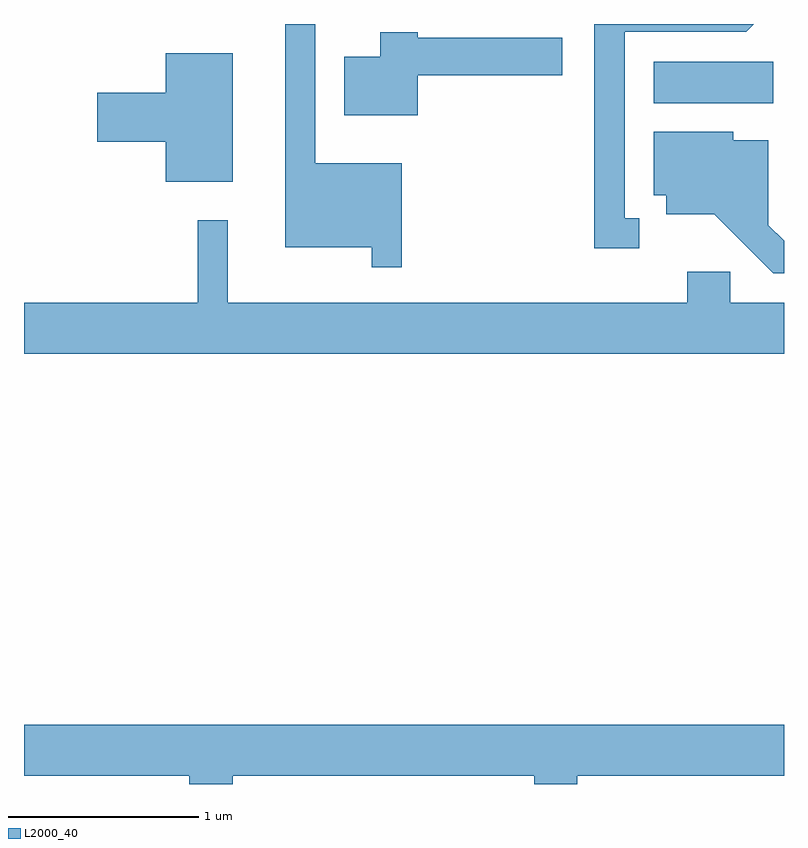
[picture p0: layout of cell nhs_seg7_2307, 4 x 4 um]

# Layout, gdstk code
import gdstk
lib = gdstk.Library(unit=1e-6, precision=1e-09)
def R(c, l, rs):  # rectangles x0, y0, x1, y1
    for r in rs: c.add(gdstk.rectangle(r[:2], r[2:], *l))
def P(c, l, *ps):  # polygons
    for p in ps: c.add(gdstk.Polygon(p, *l))
L2000_40 = (2000, 40)

nhs_seg7_2307 = lib.new_cell('nhs_seg7_2307')
R(nhs_seg7_2307, L2000_40, [(258.926,1737.836,259.554,1738.054)])
P(nhs_seg7_2307, L2000_40, [(258.848,1737.229),(258.774,1737.229),(258.774,1738.211),(259.412,1738.211),(259.453,1738.252),(258.611,1738.252),(258.611,1737.071),(258.848,1737.071)],
  [(257.599,1737.519),(257.144,1737.519),(257.144,1738.252),(256.986,1738.252),(256.986,1737.076),(257.441,1737.076),(257.441,1736.973),(257.599,1736.973)],
  [(257.684,1737.981),(258.444,1737.981),(258.444,1738.179),(257.684,1738.179),(257.684,1738.209),(257.486,1738.209),(257.486,1738.079),(257.296,1738.079),(257.296,1737.771),(257.684,1737.771)],
  [(256.709,1738.099),(256.356,1738.099),(256.356,1737.889),(255.996,1737.889),(255.996,1737.631),(256.356,1737.631),(256.356,1737.421),(256.709,1737.421)],
  [(259.611,1737.11),(259.529,1737.192),(259.529,1737.639),(259.344,1737.639),(259.344,1737.684),(258.926,1737.684),(258.926,1737.351),(258.991,1737.351),(258.991,1737.251),(259.243,1737.251),(259.554,1736.941),(259.611,1736.941)],
  [(259.611,1736.784),(259.329,1736.784),(259.329,1736.949),(259.101,1736.949),(259.101,1736.784),(256.684,1736.784),(256.684,1737.218),(256.526,1737.218),(256.526,1736.784),(255.611,1736.784),(255.611,1736.516),(259.611,1736.516)],
  [(255.611,1734.296),(256.481,1734.296),(256.481,1734.252),(256.709,1734.252),(256.709,1734.296),(258.296,1734.296),(258.296,1734.252),(258.524,1734.252),(258.524,1734.296),(259.611,1734.296),(259.611,1734.564),(255.611,1734.564)])

lib.write_gds('nhs_seg7_2307.gds')
